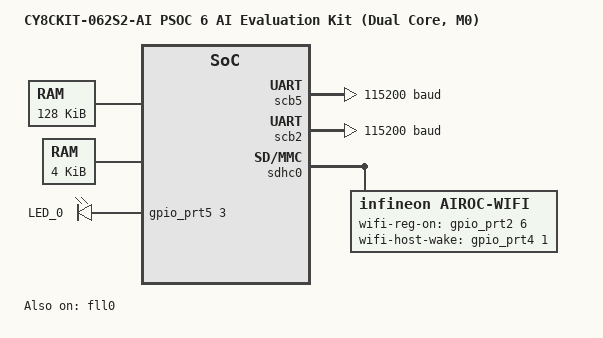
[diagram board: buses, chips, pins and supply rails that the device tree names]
/*
 * Copyright (c) 2025 Cypress Semiconductor Corporation (an Infineon company) or
 * an affiliate of Cypress Semiconductor Corporation
 *
 * SPDX-License-Identifier: Apache-2.0
 */

/dts-v1/;
#include <infineon/cat1a/mpns/CY8C624ABZI_S2D44_M0.dtsi>
#include <infineon/cat1a/system_clocks.dtsi>
#include <zephyr/dt-bindings/input/input-event-codes.h>

/ {
	model = "CY8CKIT-062S2-AI PSOC 6 AI Evaluation Kit (Dual Core, M0)";
	compatible = "infineon,cy8ckit-062s2-ai", "cypress,PSOC6";

	cpus {
		/delete-node/ cpu@1;
	};

	chosen {
		zephyr,console = &uart5;
		zephyr,shell-uart = &uart5;
		zephyr,sram = &sram_m0;
		zephyr,flash = &flash_m0;
		zephyr,bt-hci = &bt_hci_uart;
	};

	/* M0 Flash: First 512KB */
	flash_m0: flash@10000000 {
		compatible = "soc-nv-flash";
		reg = <0x10000000 DT_SIZE_K(512)>;
		write-block-size = <512>;
		erase-block-size = <512>;
	};

	/* M0 SRAM: First 128KB */
	sram_m0: memory@8000000 {
		compatible = "mmio-sram";
		reg = <0x08000000 DT_SIZE_K(128)>;
	};

	/* Shared SRAM: 4KB for inter-core communication */
	sram_shared: memory@8020000 {
		compatible = "zephyr,memory-region", "mmio-sram";
		reg = <0x08020000 DT_SIZE_K(4)>;
		zephyr,memory-region = "SHARED_SRAM";
	};

	aliases {
		led0 = &user_led0;
		sdhc0 = &sdhc0;
	};

	leds {
		compatible = "gpio-leds";

		user_led0: led_0 {
			label = "LED_0";
			gpios = <&gpio_prt5 3 GPIO_ACTIVE_HIGH>;
		};
	};
};

&fll0 {
	status = "okay";
	clock-frequency = <100000000>;
};

&clk_hf0 {
	clock-div = <1>;
	clocks = <&fll0>;
};

/* CM4 core clock = 100MHz
 * &fll clock-frequency / &clk_hf0 clock-div / &clk_fast clock-div = 100MHz / 1 / 1 = 100MHz
 */
&clk_fast {
	clock-div = <1>;
};

/* CM0+ core clock = 50MHz
 * &fll clock-frequency / &clk_hf0 clock-div / &clk_slow clock-div = 100MHz / 1 / 2 = 50MHz
 */
&clk_slow {
	clock-div = <2>;
};

/* PERI core clock = 100MHz
 * &fll clock-frequency / &clk_hf0 clock-div / &clk_peri clock-div = 100MHz / 1 / 1 = 100MHz
 */
&clk_peri {
	clock-div = <1>;
};

&gpio_prt5 {
	status = "okay";
};

/* UART connected to KitProg3 */
uart5: &scb5 {
	compatible = "infineon,uart";
	status = "okay";
	current-speed = <115200>;
	pinctrl-0 = <&p5_1_scb5_uart_tx &p5_0_scb5_uart_rx>;
	pinctrl-names = "default";
};

&p5_1_scb5_uart_tx {
	drive-push-pull;
};

&p5_0_scb5_uart_rx {
	input-enable;
};

uart2: &scb2 {
	compatible = "infineon,uart";
	status = "okay";

	/* The UART bus speed (current_speed) for zephyr_bt_uart should be the same
	 * as the default baudrate defined in CYW43xx firmware (default 115200).
	 */
	current-speed = <115200>;

	/* HCI-UART pins */
	pinctrl-0 = <&p3_1_scb2_uart_tx &p3_0_scb2_uart_rx &p3_2_scb2_uart_rts &p3_3_scb2_uart_cts>;
	pinctrl-names = "default";

	/* HW Flow control must be enabled for HCI H4 */
	hw-flow-control;

	bt_hci_uart: bt_hci_uart {
		compatible = "zephyr,bt-hci-uart";

		murata-1dx {
			status = "okay";
			compatible = "infineon,cyw43xxx-bt-hci";
			bt-reg-on-gpios = <&gpio_prt3 4 GPIO_ACTIVE_HIGH>;

			/* Configuration UART speeds for firmware download (fw-download-speed)
			 * and HCI operation (hci-operation-speed).
			 * If hci-operation-speed or fw-download-speed are not defined in
			 * bt-hci{...} node, cyw43xx driver will use bus/current-speed as
			 * default speed.
			 */
			fw-download-speed = <3000000>;
		};
	};
};

&p3_1_scb2_uart_tx {
	drive-push-pull;
};

&p3_0_scb2_uart_rx {
	input-enable;
};

&p3_2_scb2_uart_rts {
	drive-push-pull;
};

&p3_3_scb2_uart_cts {
	input-enable;
};

&sdhc0 {
	status = "okay";

	/* SDIO pins */
	pinctrl-0 = <&p2_4_sdio_cmd &p2_5_sdio_clk &p2_0_sdio_data0
		     &p2_1_sdio_data1 &p2_2_sdio_data2 &p2_3_sdio_data3>;
	pinctrl-names = "default";

	/* Wi-Fi configuration */
	airoc-wifi {
		status = "okay";
		compatible = "infineon,airoc-wifi";

		/* Wi-Fi control gpios */
		wifi-reg-on-gpios = <&gpio_prt2 6 GPIO_ACTIVE_HIGH>;
		wifi-host-wake-gpios = <&gpio_prt4 1 GPIO_ACTIVE_HIGH>;
	};
};

&gpio_prt4 {
	status = "okay";
};

&gpio_prt2 {
	status = "okay";
};

&gpio_prt3 {
	status = "okay";
};

&pinctrl {
	/* Configure pin control bias mode for SDIO */
	p2_5_sdio_clk: p2_5_sdio_clk {
		pinmux = <DT_CAT1_PINMUX(2, 5, HSIOM_SEL_ACT_14)>;
		drive-push-pull;
		input-enable;
	};

	p2_4_sdio_cmd: p2_4_sdio_cmd {
		pinmux = <DT_CAT1_PINMUX(2, 4, HSIOM_SEL_ACT_14)>;
		drive-push-pull;
		input-enable;
	};

	p2_0_sdio_data0: p2_0_sdio_data0 {
		pinmux = <DT_CAT1_PINMUX(2, 0, HSIOM_SEL_ACT_14)>;
		drive-push-pull;
		input-enable;
	};

	p2_1_sdio_data1: p2_1_sdio_data1 {
		pinmux = <DT_CAT1_PINMUX(2, 1, HSIOM_SEL_ACT_14)>;
		drive-push-pull;
		input-enable;
	};

	p2_2_sdio_data2: p2_2_sdio_data2 {
		pinmux = <DT_CAT1_PINMUX(2, 2, HSIOM_SEL_ACT_14)>;
		drive-push-pull;
		input-enable;
	};

	p2_3_sdio_data3: p2_3_sdio_data3 {
		pinmux = <DT_CAT1_PINMUX(2, 3, HSIOM_SEL_ACT_14)>;
		drive-push-pull;
		input-enable;
	};
};
